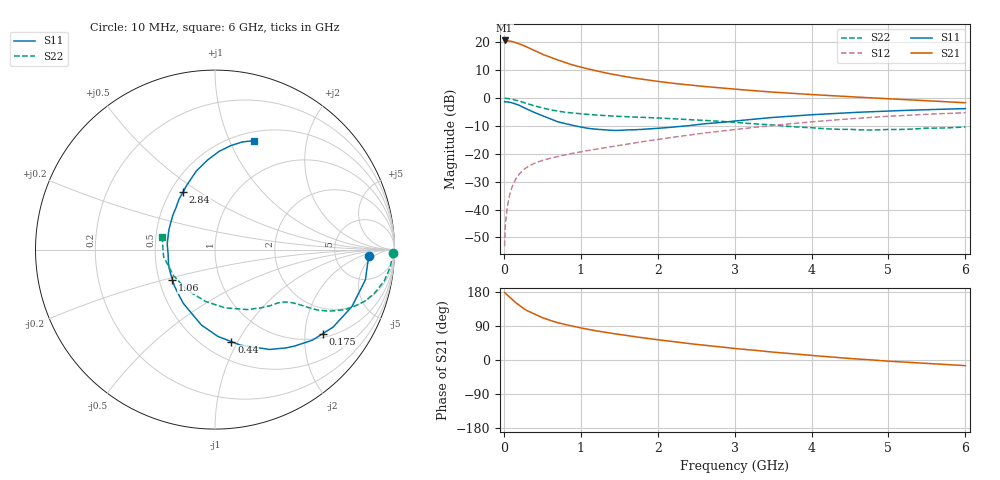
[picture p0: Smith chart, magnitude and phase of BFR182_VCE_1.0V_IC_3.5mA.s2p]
! (c) 2015  Infineon Technologies AG, Munich
! Infineon Technologies  Discrete & RF Semiconductors
! BFR182
! VCE =  1.0 V,  IC =  3.5 mA
! Common Emitter S-Parameters:  Nov 2015
# GHz  S  MA  R  50
!  f  S11  S21  S12  S22
! GHz  MAG  ANG  MAG  ANG  MAG  ANG  MAG  ANG
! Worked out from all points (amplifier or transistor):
!   210 points, 10 MHz to 6 GHz, reference 50 ohm
!   highest |S21| = 20.7 dB at 10 MHz (marker M1)
!   |S21| within 3 dB of that: start of sweep to 348.6 MHz
!   unconditionally stable (mu >= 1): 1.173 GHz to 3.173 GHz
!   at 185 MHz: K = 0.26, MSG = 23.7 dB, |S12| = -27.9 dB
!   at 1.52 GHz: K = 1.07, MAG = 10.8 dB, |S12| = -16.9 dB
!   at 6 GHz: K = 0.92, MSG = 1.8 dB, |S12| = -5.3 dB
!   S11 on the Smith chart (normalised r, x): 10 MHz: 12, -3; 175 MHz: 1.11, -2.47; 440 MHz: 0.67, -0.94; 1.06 GHz: 0.59, -0.22; 2.84 GHz: 0.58, +0.43; 6 GHz: 0.60, +1.24
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0.01  0.8605 -2.4  10.79 178.2  0.0022 86.6  0.9919 -1.1
0.02  0.8543 -4.8  10.76 176.0  0.0051 84.2  0.9878 -2.2
0.035  0.8532 -8.1  10.71 173.3  0.0086 83.4  0.9846 -3.8
0.1  0.8265 -22.5  10.43 161.4  0.0239 79.2  0.9591 -10.5
0.15  0.787 -33.3  9.942 151.9  0.0343 71.9  0.9205 -15.4
0.175  0.7614 -38.0  9.637 148.2  0.0387 69.8  0.9005 -17.2
0.24  0.6977 -50.3  8.935 138.3  0.0494 64.8  0.8459 -21.6
0.3  0.6344 -61.3  8.223 130.4  0.0572 61.5  0.7937 -25.0
0.44  0.5209 -79.9  6.664 117.5  0.071 56.2  0.698 -29.2
0.5  0.484 -88.1  6.106 111.7  0.0759 54.9  0.6634 -30.5
0.6  0.427 -100.2  5.418 104.5  0.0831 53.7  0.6168 -31.7
0.7  0.3754 -111.0  4.826 98.5  0.0891 53.6  0.5816 -32.6
0.8  0.348 -120.4  4.311 93.4  0.0955 53.3  0.5553 -33.2
1.02  0.2985 -140.5  3.528 83.9  0.1092 53.7  0.5183 -34.7
1.06  0.2912 -144.5  3.421 82.4  0.1121 53.8  0.513 -35.0
1.4  0.2628 -172.1  2.685 70.4  0.1343 55.3  0.4763 -38.0
2.02  0.2876 149.4  1.975 52.9  0.1824 55.8  0.4376 -45.6
2.84  0.3673 118.8  1.511 34.0  0.2567 52.4  0.3809 -61.3
3.1  0.3983 112.2  1.407 28.6  0.2822 50.3  0.3571 -67.9
4.1  0.5098 93.2  1.134 10.4  0.3836 40.6  0.286 -104.7
5.1  0.5924 80.1  0.955 -4.3  0.4795 28.2  0.2723 -153.2
6  0.6458 70.1  0.824 -14.9  0.544 15.1  0.3036 166.1
